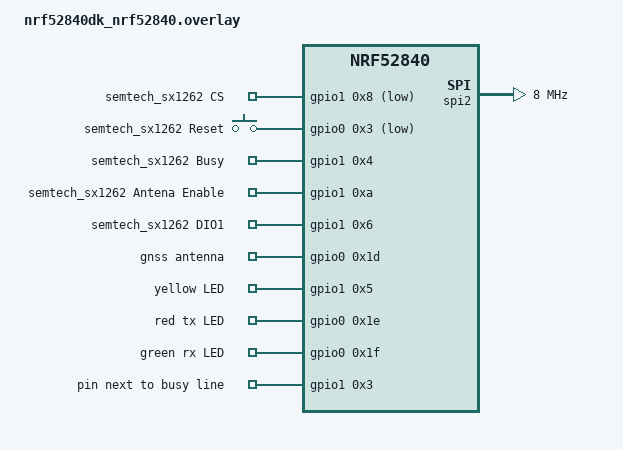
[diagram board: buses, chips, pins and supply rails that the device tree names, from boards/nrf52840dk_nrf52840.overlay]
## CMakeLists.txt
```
#
# Copyright (c) 2023 Nordic Semiconductor ASA
#
# SPDX-License-Identifier: LicenseRef-Nordic-5-Clause
#

cmake_minimum_required(VERSION 3.20.0)

# Sidewalk version
include(bootloader_version.cmake)

# Child images
set(hci_ipc_KCONFIG_ROOT ${CMAKE_CURRENT_SOURCE_DIR}/child_image/hci_ipc/Kconfig.root)
set(mcuboot_KCONFIG_ROOT ${CMAKE_CURRENT_SOURCE_DIR}/child_image/mcuboot/Kconfig.root)

# Configurations
if(CONF_FILE)
    get_filename_component(CONFIG_FILE_NAME ${CONF_FILE} NAME)
endif()

if("${CONFIG_FILE_NAME}" STREQUAL "prj_no_dfu.conf")
    set(PM_STATIC_YML_FILE ${CMAKE_CURRENT_SOURCE_DIR}/configuration/pm_static_no_dfu.yml)
else()
    set(PM_STATIC_YML_FILE ${CMAKE_CURRENT_SOURCE_DIR}/configuration/${BOARD}/pm_static_dfu.yml)
endif()

# Zephyr CMake project
find_package(Zephyr REQUIRED HINTS $ENV{ZEPHYR_BASE})
project(sidewalk_sid_end_device)

# Source files
target_include_directories(app PRIVATE include)
target_sources(app PRIVATE
    src/main.c
    src/sidewalk.c
)

target_sources_ifdef(CONFIG_SIDEWALK_FILE_TRANSFER app PRIVATE src/file_transfer.c)

if(CONFIG_SID_END_DEVICE_SENSOR_MONITORING)
    target_sources(app PRIVATE
        src/sensor_monitoring/app_buttons.c
        src/sensor_monitoring/app_leds.c
        src/sensor_monitoring/app_sensor.c
        src/sensor_monitoring/app_tx.c
        src/sensor_monitoring/app_rx.c
        src/sensor_monitoring/app.c
    )
elseif(CONFIG_SID_END_DEVICE_DUT)
    target_sources(app PRIVATE
        src/cli/app.c
    )
elseif(CONFIG_LBM_END_DEVICE)
    target_sources(app PRIVATE
        src/lbm/app_lbm_sidewalk.c
        src/lbm/main_periodical_uplink.c
    )
	zephyr_compile_definitions(
		CRYPTO=SOFT
		RP2_103
		SMTC_D2D
		USER_DEFINED_JOIN_PARAMETERS
	)
	if (CONFIG_REGION_US_915)
		target_compile_definitions(app PRIVATE MODEM_EXAMPLE_REGION=SMTC_MODEM_REGION_US_915)
	else()
		message(SEND_ERROR "not us_915 region")
	endif()
elseif(CONFIG_SID_END_DEVICE_NAV3)
	if(CONFIG_NAV3_SEND)
		target_compile_definitions(app PRIVATE NAV3_SEND)
		target_sources(app PRIVATE src/lbm/wifi.c)
	elseif(CONFIG_NAV3_ONLY)
		target_compile_definitions(app PRIVATE NAV3_ONLY)
	endif()
    target_sources(app PRIVATE
        src/lbm/app_nav3_sidewalk.c
        src/lbm/main_geolocation_sidewalk.c
    )
	zephyr_compile_definitions(RP2_103)	# TODO why should this be necessary in bypass
	if (CONFIG_REGION_US_915)
		# TODO why should this be necessary in bypass
		target_compile_definitions(app PRIVATE MODEM_EXAMPLE_REGION=SMTC_MODEM_REGION_US_915)
	else()
		message(SEND_ERROR "not us_915 region")
	endif()
elseif(CONFIG_LBM_END_DEVICE_NAV3)
    target_sources(app PRIVATE
        src/lbm/app_nav3_lbm.c
        src/lbm/main_geolocation_lbm.c
    )
	zephyr_compile_definitions(RP2_103)
	if (CONFIG_REGION_US_915)
		target_compile_definitions(app PRIVATE MODEM_EXAMPLE_REGION=SMTC_MODEM_REGION_US_915)
	else()
		message(SEND_ERROR "not us_915 region")
	endif()
else()
    target_sources(app PRIVATE
        src/hello/app.c
    )
endif()

if(CONFIG_SID_END_DEVICE_CLI)
    target_sources(app PRIVATE
        src/cli/app_dut.c
        src/cli/app_shell.c
    )
endif()

if(CONFIG_SMTC_CLI)
    target_sources(app PRIVATE
		src/cli/smtc_shell.c
	)
	target_compile_definitions(app PRIVATE CONFIG_SMTC_CLI)
endif()
```

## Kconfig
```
#
# Copyright (c) 2022 Nordic Semiconductor ASA
#
# SPDX-License-Identifier: LicenseRef-Nordic-5-Clause
#

mainmenu "Sidewalk End Device nRF Connect Application"

choice SID_END_DEVICE
	prompt "Select application variant to run"
    default SID_END_DEVICE_HELLO
config SID_END_DEVICE_HELLO
    bool "Sidewalk hello world application"
config SID_END_DEVICE_SENSOR_MONITORING
    bool "Demo sensor monitoring application"
    imply SIDEWALK_DEMO_PARSER
    imply SENSOR
    imply TEMP_NRF5
config SID_END_DEVICE_DUT
    bool "Device under test application"
config LBM_END_DEVICE
    bool "LoRa Basics Modem running in sidewalk environment"
config LBM_END_DEVICE_NAV3
	select ADD_LBM_GEOLOCATION
	imply RADIO_TCXO
    bool "NAV3 using lorawan transport"
config SID_END_DEVICE_NAV3
	select ADD_LBM_GEOLOCATION
	select SMTC_MODEM_HAL_IRQ_FROM_SID_PAL
	imply RADIO_TCXO
    bool "NAV3 uusing sidewalk transport"
endchoice #SID_END_DEVICE

if SID_END_DEVICE_HELLO

config SID_END_DEVICE_ECHO_MSGS
    bool "Eable message echo feature"
    default y
    help
      Echo received messages back to Sidewlak cloud.
      Works with GET and SET messages types.

endif #SID_END_DEVICE_HELLO

if SID_END_DEVICE_SENSOR_MONITORING

rsource "Kconfig.sensor_monitoring"

endif #SID_END_DEVICE_SENSOR_MONITORING

config SID_END_DEVICE_CLI
    bool "Enable Sidewalk CLI (DUT)"
    imply SHELL
    help
      Enables Sidewalk command line interface.
      The interface commands are compatilbe with former dut sample.

config SMTC_CLI
	bool "enable semtech CLI"
	imply SHELL
	help
		Enables semtech radio command line interface.

config NAV3_SEND
	bool "send geolocation results to AWS using sidewalk transport"
	default n

config NAV3_ONLY
	bool "NAV3 without sidewalk running"
	default n

config SID_END_DEVICE_AUTO_START
    default y
    bool "Enable automatic Sidewalk initlization and start"

config SID_END_DEVICE_AUTO_CONN_REQ
    default y
    bool "Enable automatic connection request before message send"

config SID_END_DEVICE_PERSISTENT_LINK_MASK
    bool "Enable persitent link mask"
    help
      The Sidewalk link mask persists after a device reset
      but defaults after a factory reset.
      This could affect the flash lifespan.

config SID_END_DEVICE_EVENT_HEAP_SIZE
    int "Heap for Sidewalk event contexts"
    default 2048

config SIDEWALK_FILE_TRANSFER
    select EXPERIMENTAL
    bool "Add File transfer capability to the application"
    help
      Include the callbacks necesary to handle file transfer

rsource "Kconfig.defconfig"

source "Kconfig.zephyr"
```

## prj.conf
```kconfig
#
# Copyright (c) 2023 Nordic Semiconductor ASA
#
# SPDX-License-Identifier: LicenseRef-Nordic-5-Clause
#

# Sidewalk
CONFIG_SIDEWALK=y
CONFIG_SMF=y

CONFIG_SIDEWALK_LINK_MASK_FSK=y
#CONFIG_SIDEWALK_LINK_MASK_LORA=y
CONFIG_RADIO_LR11XX=y
CONFIG_RADIO_TCXO=y
#CONFIG_SMTC_CLI=y
#CONFIG_SIDEWALK_THREAD_QUEUE_SIZE=20
#CONFIG_NAV3_SEND=y
CONFIG_NAV3_ONLY=y
#CONFIG_LBM_HAL_DBG_DEEP=y

# Log
CONFIG_LOG=y
CONFIG_LOG_PRINTK=y
CONFIG_LOG_BUFFER_SIZE=2048
CONFIG_NVS_LOG_LEVEL_WRN=y

# Bluetooth
CONFIG_BT_DEVICE_NAME="Nordic"

# Power Management
CONFIG_PM_DEVICE=y

# Debug
CONFIG_RESET_ON_FATAL_ERROR=n
CONFIG_SYS_HEAP_RUNTIME_STATS=y
```

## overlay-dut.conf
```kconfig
#
# Copyright (c) 2024 Nordic Semiconductor ASA
#
# SPDX-License-Identifier: LicenseRef-Nordic-5-Clause
#
CONFIG_SID_END_DEVICE_DUT=y

CONFIG_SID_END_DEVICE_CLI=y
CONFIG_SMTC_CLI=y
CONFIG_SIDEWALK_ON_DEV_CERT=y

CONFIG_SIDEWALK_BLE_ADAPTER_LOG_LEVEL_DBG=y

CONFIG_SID_END_DEVICE_AUTO_START=n
CONFIG_SID_END_DEVICE_ECHO_MSGS=n

# smtc:
CONFIG_SIDEWALK_LINK_MASK_FSK=y
#CONFIG_SIDEWALK_LINK_MASK_LORA=y
CONFIG_RADIO_LR11XX=y
CONFIG_RADIO_TCXO=y
```

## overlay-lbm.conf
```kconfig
CONFIG_LBM_END_DEVICE=y
CONFIG_LORABASICSMODEM_V431=y
#CONFIG_REGION_US_915=y		# this is the default region

# lora basics modem debug
CONFIG_LBM_LOG_LEVEL_DBG=n
CONFIG_LBM_HAL_DBG=y
CONFIG_LBM_HAL_DBG_DEEP=n
```

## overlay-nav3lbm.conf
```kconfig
CONFIG_LBM_END_DEVICE_NAV3=y
#CONFIG_LORABASICSMODEM_V431=y
CONFIG_LORABASICSMODEM_V450=y
# lora basics modem debug
CONFIG_LBM_LOG_LEVEL_DBG=n
CONFIG_LBM_HAL_DBG=y
CONFIG_LBM_HAL_DBG_DEEP=n
#CONFIG_LBM_GNSS_ALMANAC_DEEP_DBG=y
CONFIG_NAV3_SEND=y

# default is 2048
CONFIG_LOG_BUFFER_SIZE=4096


CONFIG_SIDEWALK_LINK_MASK_LORA=y
```

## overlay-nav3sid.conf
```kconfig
CONFIG_SID_END_DEVICE_NAV3=y
#CONFIG_LORABASICSMODEM_V431=y
CONFIG_LORABASICSMODEM_V450=y
# lora basics modem debug
CONFIG_LBM_LOG_LEVEL_DBG=n
CONFIG_LBM_HAL_DBG=y
CONFIG_LBM_HAL_DBG_DEEP=n
#CONFIG_LBM_GNSS_ALMANAC_DEEP_DBG=y
CONFIG_NAV3_SEND=y

# default is 2048
CONFIG_LOG_BUFFER_SIZE=4096


CONFIG_SIDEWALK_LINK_MASK_LORA=y

#CONFIG_LBM_GNSS_SCAN_DEEP_DBG=y
```

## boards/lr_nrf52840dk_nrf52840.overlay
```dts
/*
 * Copyright (c) 2023 Nordic Semiconductor ASA
 *
 * SPDX-License-Identifier: LicenseRef-Nordic-5-Clause
 */

&spi3 {
	status = "disabled";
};

sid_semtech: &spi2 {
	compatible = "nordic,nrf-spim";
	status = "okay";
	pinctrl-0 = <&spi2_default>;
	pinctrl-1 = <&spi2_sleep>;
	pinctrl-names = "default", "sleep";
	clock-frequency = <DT_FREQ_M(8)>;
};

/{
	semtech_sx1262_gpios{
		compatible = "gpio-keys";
		semtech_sx1262_cs: cs {
			gpios = <&gpio1 0x8 GPIO_ACTIVE_LOW>;
			label = "semtech_sx1262 CS";
		};
		semtech_sx1262_reset_gpios: reset {
			gpios = <&gpio0 0x3 GPIO_ACTIVE_LOW>;
			label = "semtech_sx1262 Reset";
		};
		semtech_sx1262_busy_gpios: busy {
			gpios = <&gpio1 0x4 GPIO_ACTIVE_HIGH>;
			label = "semtech_sx1262 Busy";
		};
		semtech_sx1262_antenna_enable_gpios: antena_enable {
			gpios = <&gpio1 0xa GPIO_ACTIVE_HIGH>;
			label = "semtech_sx1262 Antena Enable";
		};
		semtech_sx1262_dio1_gpios: dio1 {
			gpios = <&gpio1 0x6 GPIO_ACTIVE_HIGH>;
			label = "semtech_sx1262 DIO1";
		};
		radio_led_tx: led_tx {
			gpios = <&gpio0 0x1e GPIO_ACTIVE_HIGH>;
			label = "red tx LED";
		};
		radio_led_rx: led_rx {
			gpios = <&gpio0 0x1f GPIO_ACTIVE_HIGH>;
			label = "green rx LED";
		};
        radio_led_sniff: led_sniff {
            gpios = <&gpio1 0x5 GPIO_ACTIVE_HIGH>;
            label = "yellow LED";
        };
        radio_gnss_lna: gnss_lna {
            gpios = <&gpio0 0x1d GPIO_ACTIVE_HIGH>;
            label = "gnss antenna";
        };
	};

	chosen {
		nordic,pm-ext-flash = &mx25r64;
	};
};

&spi2_default {
	group1 {
		psels = <NRF_PSEL(SPIM_SCK, 1, 15)>,
		        <NRF_PSEL(SPIM_MISO, 1, 14)>,
		        <NRF_PSEL(SPIM_MOSI, 1, 13)>;
	};
};

&spi2_sleep {
	group1 {
		psels = <NRF_PSEL(SPIM_SCK, 1, 15)>,
		        <NRF_PSEL(SPIM_MISO, 1, 14)>,
		        <NRF_PSEL(SPIM_MOSI, 1, 13)>;
		low-power-enable;
	};
};
```

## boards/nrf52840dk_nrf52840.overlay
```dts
/*
 * Copyright (c) 2023 Nordic Semiconductor ASA
 *
 * SPDX-License-Identifier: LicenseRef-Nordic-5-Clause
 */

&spi3 {
	status = "disabled";
};

sid_semtech: &spi2 {
	compatible = "nordic,nrf-spim";
	status = "okay";
	pinctrl-0 = <&spi2_default>;
	pinctrl-1 = <&spi2_sleep>;
	pinctrl-names = "default", "sleep";
	clock-frequency = <DT_FREQ_M(8)>;
};

/{
	semtech_sx1262_gpios{
		compatible = "gpio-keys";
		semtech_sx1262_cs: cs {
			gpios = <&gpio1 0x8 GPIO_ACTIVE_LOW>;
			label = "semtech_sx1262 CS";
		};
		semtech_sx1262_reset_gpios: reset {
			gpios = <&gpio0 0x3 GPIO_ACTIVE_LOW>;
			label = "semtech_sx1262 Reset";
		};
		semtech_sx1262_busy_gpios: busy {
			gpios = <&gpio1 0x4 GPIO_ACTIVE_HIGH>;
			label = "semtech_sx1262 Busy";
		};
		semtech_sx1262_antenna_enable_gpios: antena_enable {
			gpios = <&gpio1 0xa GPIO_ACTIVE_HIGH>;
			label = "semtech_sx1262 Antena Enable";
		};
		semtech_sx1262_dio1_gpios: dio1 {
			gpios = <&gpio1 0x6 GPIO_ACTIVE_HIGH>;
			label = "semtech_sx1262 DIO1";
		};
        radio_gnss_lna: gnss_lna {
            gpios = <&gpio0 0x1d GPIO_ACTIVE_HIGH>;
            label = "gnss antenna";
        };
        radio_led_sniff: led_sniff {
            gpios = <&gpio1 0x5 GPIO_ACTIVE_HIGH>;
            label = "yellow LED";
        };
		radio_led_tx: led_tx {
			gpios = <&gpio0 0x1e GPIO_ACTIVE_HIGH>;
			label = "red tx LED";
		};
		radio_led_rx: led_rx {
			gpios = <&gpio0 0x1f GPIO_ACTIVE_HIGH>;
			label = "green rx LED";
		};
		a_debug: bar {
			gpios = <&gpio1 0x3 GPIO_ACTIVE_HIGH>;
			label = "pin next to busy line";
		};
	};

	chosen {
		nordic,pm-ext-flash = &mx25r64;
	};
};

&spi2_default {
	group1 {
		psels = <NRF_PSEL(SPIM_SCK, 1, 15)>,
		        <NRF_PSEL(SPIM_MISO, 1, 14)>,
		        <NRF_PSEL(SPIM_MOSI, 1, 13)>;
	};
};

&spi2_sleep {
	group1 {
		psels = <NRF_PSEL(SPIM_SCK, 1, 15)>,
		        <NRF_PSEL(SPIM_MISO, 1, 14)>,
		        <NRF_PSEL(SPIM_MOSI, 1, 13)>;
		low-power-enable;
	};
};
```

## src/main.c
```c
/*
 * Copyright (c) 2023 Nordic Semiconductor ASA
 *
 * SPDX-License-Identifier: LicenseRef-Nordic-5-Clause
 */

#include <app.h>
#include <zephyr/logging/log.h>
#include <sidewalk_version.h>

#include <zephyr/logging/log.h>
LOG_MODULE_REGISTER(main, CONFIG_SIDEWALK_LOG_LEVEL);

int main(void)
{
	PRINT_SIDEWALK_VERSION();

	app_start();

	return 0;
}
```

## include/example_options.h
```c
/**
 * @file	  example_options.h
 *
 * @brief	 User options to be used in example applications
 *
 * The Clear BSD License
 * Copyright Semtech Corporation 2021. All rights reserved.
 *
 * Redistribution and use in source and binary forms, with or without
 * modification, are permitted (subject to the limitations in the disclaimer
 * below) provided that the following conditions are met:
 *	 * Redistributions of source code must retain the above copyright
 *	   notice, this list of conditions and the following disclaimer.
 *	 * Redistributions in binary form must reproduce the above copyright
 *	   notice, this list of conditions and the following disclaimer in the
 *	   documentation and/or other materials provided with the distribution.
 *	 * Neither the name of the Semtech corporation nor the
 *	   names of its contributors may be used to endorse or promote products
 *	   derived from this software without specific prior written permission.
 *
 * NO EXPRESS OR IMPLIED LICENSES TO ANY PARTY'S PATENT RIGHTS ARE GRANTED BY
 * THIS LICENSE. THIS SOFTWARE IS PROVIDED BY THE COPYRIGHT HOLDERS AND
 * CONTRIBUTORS "AS IS" AND ANY EXPRESS OR IMPLIED WARRANTIES, INCLUDING, BUT
 * NOT LIMITED TO, THE IMPLIED WARRANTIES OF MERCHANTABILITY AND FITNESS FOR A
 * PARTICULAR PURPOSE ARE DISCLAIMED. IN NO EVENT SHALL SEMTECH CORPORATION BE
 * LIABLE FOR ANY DIRECT, INDIRECT, INCIDENTAL, SPECIAL, EXEMPLARY, OR
 * CONSEQUENTIAL DAMAGES (INCLUDING, BUT NOT LIMITED TO, PROCUREMENT OF
 * SUBSTITUTE GOODS OR SERVICES; LOSS OF USE, DATA, OR PROFITS; OR BUSINESS
 * INTERRUPTION) HOWEVER CAUSED AND ON ANY THEORY OF LIABILITY, WHETHER IN
 * CONTRACT, STRICT LIABILITY, OR TORT (INCLUDING NEGLIGENCE OR OTHERWISE)
 * ARISING IN ANY WAY OUT OF THE USE OF THIS SOFTWARE, EVEN IF ADVISED OF THE
 * POSSIBILITY OF SUCH DAMAGE.
 */

#ifndef EXAMPLE_OPTIONS_H
#define EXAMPLE_OPTIONS_H

#ifdef __cplusplus
extern "C" {
#endif

/*
 * -----------------------------------------------------------------------------
 * --- DEPENDENCIES ------------------------------------------------------------
 */

#include <stdint.h>   // C99 types
#include <stdbool.h>  // bool type

#include "smtc_modem_api.h"

/*
 * -----------------------------------------------------------------------------
 * --- PUBLIC CONSTANTS --------------------------------------------------------
 */

/**
 * @brief LoRaWAN User credentials
 *		cd-zephyr-nov30
 * joineu 97742779212C2BB6
 * deveui 3BBE1562BCD35D32
 *	key 195029CB37A463742D063AF660281139
 */
#define USER_LORAWAN_DEVICE_EUI						\
	{												  \
		0x3B, 0xBE, 0x15, 0x62, 0xBC, 0xD3, 0x5D, 0x32 \
	}
#define USER_LORAWAN_JOIN_EUI						  \
	{												  \
		0x97, 0x74, 0x27, 0x79, 0x21, 0x2C, 0x2B, 0xB6 \
	}
#define USER_LORAWAN_GEN_APP_KEY																	   \
	{																								  \
		0x19, 0x50, 0x29, 0xCB, 0x37, 0xA4, 0x63, 0x74, 0x2D, 0x06, 0x3A, 0xF6, 0x60, 0x28, 0x11, 0x39 \
	}
#define USER_LORAWAN_APP_KEY																		   \
	{																								  \
		0x19, 0x50, 0x29, 0xCB, 0x37, 0xA4, 0x63, 0x74, 0x2D, 0x06, 0x3A, 0xF6, 0x60, 0x28, 0x11, 0x39 \
	}

/**
 * @brief Modem Region define
 */
#ifndef MODEM_EXAMPLE_REGION
#if !defined( SX128X )
#define MODEM_EXAMPLE_REGION SMTC_MODEM_REGION_EU_868
#else
#define MODEM_EXAMPLE_REGION SMTC_MODEM_REGION_WW2G4
#endif
#endif  // MODEM_EXAMPLE_REGION
// clang-format on

#ifdef __cplusplus
}
#endif

#endif  // EXAMPLE_OPTIONS_H

/* --- EOF ------------------------------------------------------------------ */
```

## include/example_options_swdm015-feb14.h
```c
/**
 * @file	  example_options.h
 *
 * @brief	 User options to be used in example applications
 *
 * The Clear BSD License
 * Copyright Semtech Corporation 2021. All rights reserved.
 *
 * Redistribution and use in source and binary forms, with or without
 * modification, are permitted (subject to the limitations in the disclaimer
 * below) provided that the following conditions are met:
 *	 * Redistributions of source code must retain the above copyright
 *	   notice, this list of conditions and the following disclaimer.
 *	 * Redistributions in binary form must reproduce the above copyright
 *	   notice, this list of conditions and the following disclaimer in the
 *	   documentation and/or other materials provided with the distribution.
 *	 * Neither the name of the Semtech corporation nor the
 *	   names of its contributors may be used to endorse or promote products
 *	   derived from this software without specific prior written permission.
 *
 * NO EXPRESS OR IMPLIED LICENSES TO ANY PARTY'S PATENT RIGHTS ARE GRANTED BY
 * THIS LICENSE. THIS SOFTWARE IS PROVIDED BY THE COPYRIGHT HOLDERS AND
 * CONTRIBUTORS "AS IS" AND ANY EXPRESS OR IMPLIED WARRANTIES, INCLUDING, BUT
 * NOT LIMITED TO, THE IMPLIED WARRANTIES OF MERCHANTABILITY AND FITNESS FOR A
 * PARTICULAR PURPOSE ARE DISCLAIMED. IN NO EVENT SHALL SEMTECH CORPORATION BE
 * LIABLE FOR ANY DIRECT, INDIRECT, INCIDENTAL, SPECIAL, EXEMPLARY, OR
 * CONSEQUENTIAL DAMAGES (INCLUDING, BUT NOT LIMITED TO, PROCUREMENT OF
 * SUBSTITUTE GOODS OR SERVICES; LOSS OF USE, DATA, OR PROFITS; OR BUSINESS
 * INTERRUPTION) HOWEVER CAUSED AND ON ANY THEORY OF LIABILITY, WHETHER IN
 * CONTRACT, STRICT LIABILITY, OR TORT (INCLUDING NEGLIGENCE OR OTHERWISE)
 * ARISING IN ANY WAY OUT OF THE USE OF THIS SOFTWARE, EVEN IF ADVISED OF THE
 * POSSIBILITY OF SUCH DAMAGE.
 */

#ifndef EXAMPLE_OPTIONS_H
#define EXAMPLE_OPTIONS_H

#ifdef __cplusplus
extern "C" {
#endif

/*
 * -----------------------------------------------------------------------------
 * --- DEPENDENCIES ------------------------------------------------------------
 */

#include <stdint.h>   // C99 types
#include <stdbool.h>  // bool type

#include "smtc_modem_api.h"

/*
 * -----------------------------------------------------------------------------
 * --- PUBLIC CONSTANTS --------------------------------------------------------
 */

/**
 * @brief LoRaWAN User credentials
 * joineu 97742779212C2BB6
 * deveui 3BBE1562BCD35D32
 *	key 195029CB37A463742D063AF660281139
 */
#define USER_LORAWAN_DEVICE_EUI						\
	{												  \
		0x3B, 0xBE, 0x15, 0x62, 0xBC, 0xD3, 0x5D, 0x32 \
	}
#define USER_LORAWAN_JOIN_EUI						  \
	{												  \
		0x97, 0x74, 0x27, 0x79, 0x21, 0x2C, 0x2B, 0xB6 \
	}
#define USER_LORAWAN_GEN_APP_KEY																	   \
	{																								  \
		0x19, 0x50, 0x29, 0xCB, 0x37, 0xA4, 0x63, 0x74, 0x2D, 0x06, 0x3A, 0xF6, 0x60, 0x28, 0x11, 0x39 \
	}
#define USER_LORAWAN_APP_KEY																		   \
	{																								  \
		0x19, 0x50, 0x29, 0xCB, 0x37, 0xA4, 0x63, 0x74, 0x2D, 0x06, 0x3A, 0xF6, 0x60, 0x28, 0x11, 0x39 \
	}

/**
 * @brief Modem Region define
 */
#ifndef MODEM_EXAMPLE_REGION
#if !defined( SX128X )
#define MODEM_EXAMPLE_REGION SMTC_MODEM_REGION_EU_868
#else
#define MODEM_EXAMPLE_REGION SMTC_MODEM_REGION_WW2G4
#endif
#endif  // MODEM_EXAMPLE_REGION
// clang-format on

#ifdef __cplusplus
}
#endif

#endif  // EXAMPLE_OPTIONS_H

/* --- EOF ------------------------------------------------------------------ */
```

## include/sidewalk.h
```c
/*
 * Copyright (c) 2023 Nordic Semiconductor ASA
 *
 * SPDX-License-Identifier: LicenseRef-Nordic-5-Clause
 */
#ifndef SIDEWALK_APP_H
#define SIDEWALK_APP_H

#include <sid_api.h>
#include <zephyr/smf.h>
#include <sid_time_ops.h>
#include <sid_clock_ifc.h>
#include <sid_pal_timer_ifc.h>

#define LBM_STACK_ID 0

enum state {
	STATE_SIDEWALK,
	STATE_DFU,
	STATE_SMTC,
#if defined(CONFIG_LBM_END_DEVICE)
	STATE_LBM,
#elif (defined(CONFIG_SID_END_DEVICE_NAV3) || defined(CONFIG_LBM_END_DEVICE_NAV3))
	STATE_NAV3,
#endif
};

typedef enum {
	SID_EVENT_SIDEWALK = 0,
	/* 1  */ SID_EVENT_FACTORY_RESET,
	/* 2  */ SID_EVENT_NEW_STATUS,
	/* 3  */ SID_EVENT_SEND_MSG,
	/* 4  */ SID_EVENT_CONNECT,
	/* 5  */ SID_EVENT_LINK_SWITCH,
	/* 6  */ SID_EVENT_NORDIC_DFU,
	/* 7  */ SID_EVENT_FILE_TRANSFER,
	/* 8  */ SID_EVENT_LBM,
	/* 9  */ SID_EVENT_TOGGLE_LBM_SIDEWALK,
#if defined(CONFIG_SID_END_DEVICE_NAV3)
	/* 10 */ SID_EVENT_LBM_INIT,
#endif
#ifdef NAV3_SEND
	/*    */ SID_EVENT_NAV3_SEND,
#endif /* !NAV3_SEND */
	/*    */ SID_EVENT_LAST,
} sidewalk_event_t;

typedef struct {
	sidewalk_event_t id;
	void *ctx;
} sidewalk_ctx_event_t;

#if defined(NAV3_SEND) || defined(CONFIG_LBM_END_DEVICE_NAV3)
/*!
 * @brief Defines the delay before starting the next scan sequence, value in [s].
 */
#define GEOLOCATION_GNSS_SCAN_PERIOD_S ( 2 * 60 )
#define GEOLOCATION_WIFI_SCAN_PERIOD_S ( 1 * 60 )
#endif

#ifdef NAV3_SEND
typedef enum {
	SENDING_NONE = 0,
	SENDING_GNSS,
	SENDING_WIFI,
} sending_t;
#endif /* !NAV3_SEND */

typedef struct {
	struct sid_handle *handle;
	struct sid_config config;
	struct sid_status last_status;
#ifdef NAV3_SEND
	struct {
		uint8_t index;
		uint8_t nbytes_sent_this_fragment;
		uint8_t current_fragment;
		uint8_t total_fragments;
		uint8_t total_bytes;
		uint8_t num_bytes_sending;
		size_t mtu;
		uint8_t frag_type;
		const uint8_t *buffer;
		sending_t sending;
		sending_t pending_send;
		uint8_t send_attempt;
		bool currently_sending;
		bool run_engine_pending;
	} scan_result;
#endif /* !NAV3_SEND */
} sidewalk_ctx_t;

typedef struct sm_s {
	struct smf_ctx ctx;
	struct k_msgq msgq;
	sidewalk_ctx_event_t event;
	sidewalk_ctx_t *sid;
#if (defined(CONFIG_LBM_END_DEVICE) || defined(CONFIG_SID_END_DEVICE_NAV3) || defined(CONFIG_LBM_END_DEVICE_NAV3))
	uint32_t sleep_time_ms;
#endif
#if defined(CONFIG_SID_END_DEVICE_NAV3)
	bool lbm_initialized;
#endif
} sm_t;

typedef struct {
	struct sid_msg msg;
	struct sid_msg_desc desc;
} sidewalk_msg_t;

typedef struct {
	enum sid_option option;
	void *data;
	size_t data_len;
} sidewalk_option_t;

void sidewalk_start(sidewalk_ctx_t *context);

int sidewalk_event_send(sidewalk_event_t event, void *ctx);

extern const struct smf_state sid_states[];
void app_event_lbm(void);
#if defined(CONFIG_LBM_END_DEVICE)
void state_lbm_entry(void *o);
void state_lbm_run(void *o);
#elif defined(CONFIG_SID_END_DEVICE_NAV3) || defined(CONFIG_LBM_END_DEVICE_NAV3)
void state_nav3_entry(void *o);
void state_nav3_run(void *o);
extern sid_pal_timer_t lr_timer;
extern sidewalk_event_t lr_timer_cb_arg;
#endif

#if defined(CONFIG_SID_END_DEVICE_NAV3) || defined(CONFIG_LBM_END_DEVICE_NAV3)
#include <smtc_modem_geolocation_api.h>
#endif

#ifdef NAV3_SEND
#define TLV_TAG_GNSS_SINGLE_SCAN	0x50
#define TLV_TAG_WIFI_SCAN			0x51
#define TLV_TAG_MODEM_MESSAGE		0x52
#define TLV_TAG_GNSS_NG				0x53
#define TLV_TAG_MIRROR_UPLINK		0x54
#define TLV_TAG_					0x55
extern smtc_modem_wifi_event_data_scan_done_t					  wifi_scan_done_data;
extern smtc_modem_gnss_event_data_scan_done_t					  gnss_scan_done_data;
extern uint8_t gnss_scan_idx;
int uplink_scan(uint8_t tlv_tag, const uint8_t *scan_result_buf, uint8_t scan_result_length);
int uplink_gnss_scan(const smtc_modem_gnss_event_data_scan_done_t *gnss, unsigned idx, bool);
int wifi_send_results(void); // prepare send, and call send
int wifi_uplink(void);
void send_scan_result(sidewalk_ctx_t *sid_ctx);
#endif /* NAV3_SEND */

#endif /* SIDEWALK_APP_H */
```

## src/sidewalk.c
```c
/*
 * Copyright (c) 2023 Nordic Semiconductor ASA
 *
 * SPDX-License-Identifier: LicenseRef-Nordic-5-Clause
 */

#include <sid_pal_crypto_ifc.h>
#include <stdio.h>

#include <app_mfg_config.h>
#include <sid_pal_common_ifc.h>
#include <sidewalk.h>
#include <nordic_dfu.h>
#ifdef CONFIG_SID_END_DEVICE_CLI
#include <cli/app_dut.h>
#endif
#ifdef CONFIG_SID_END_DEVICE_PERSISTENT_LINK_MASK
#include <settings_utils.h>
#endif
#include <zephyr/kernel.h>
#include <zephyr/logging/log.h>
#include <sidTypes2str.h>
#ifdef CONFIG_SIDEWALK_SUBGHZ_SUPPORT
#include <app_subGHz_config.h>
#endif
#include <file_transfer.h>

#include <sid_hal_memory_ifc.h>
#ifdef CONFIG_SMTC_CLI
#include <halo_lr11xx_radio.h>
extern volatile int csuso;
#endif /* CONFIG_SMTC_CLI */

#ifdef CONFIG_SIDEWALK_LINK_MASK_BLE
#define DEFAULT_LM (uint32_t)(SID_LINK_TYPE_1)
#elif CONFIG_SIDEWALK_LINK_MASK_FSK
#define DEFAULT_LM (uint32_t)(SID_LINK_TYPE_2)
#elif CONFIG_SIDEWALK_LINK_MASK_LORA
#define DEFAULT_LM (uint32_t)(SID_LINK_TYPE_1 | SID_LINK_TYPE_3)
#else
#define DEFAULT_LM (uint32_t)(SID_LINK_TYPE_1)
#endif

LOG_MODULE_REGISTER(sidewalk_app, CONFIG_SIDEWALK_LOG_LEVEL);

static struct k_thread sid_thread;
K_THREAD_STACK_DEFINE(sid_thread_stack, CONFIG_SIDEWALK_THREAD_STACK_SIZE);

//extern uint32_t radio_dbg;

static void state_sidewalk_run(void *o);
static void state_sidewalk_entry(void *o);
static void state_dfu_entry(void *o);
static void state_dfu_run(void *o);
#ifdef CONFIG_SMTC_CLI
static void state_smtc_entry(void *o);
static void state_smtc_run(void *o);
#endif /* CONFIG_SMTC_CLI */

const struct smf_state sid_states[] = {
	[STATE_SIDEWALK] = SMF_CREATE_STATE(state_sidewalk_entry, state_sidewalk_run, NULL),
	[STATE_DFU] = SMF_CREATE_STATE(state_dfu_entry, state_dfu_run, NULL),
#if defined(CONFIG_LBM_END_DEVICE)
	[STATE_LBM] = SMF_CREATE_STATE(state_lbm_entry, state_lbm_run, NULL),
#elif defined(CONFIG_SID_END_DEVICE_NAV3) || defined(CONFIG_LBM_END_DEVICE_NAV3)
	[STATE_NAV3] = SMF_CREATE_STATE(state_nav3_entry, state_nav3_run, NULL),
#endif
#ifdef CONFIG_SMTC_CLI
	[STATE_SMTC] = SMF_CREATE_STATE(state_smtc_entry, state_smtc_run, NULL),
#endif /* CONFIG_SMTC_CLI */
};

static uint8_t __aligned(4)
	sid_msgq_buff[CONFIG_SIDEWALK_THREAD_QUEUE_SIZE * sizeof(sidewalk_ctx_event_t)];
static sm_t sid_sm;

static void state_sidewalk_entry(void *o)
{
	platform_parameters_t platform_parameters = {
		.mfg_store_region.addr_start = APP_MFG_CFG_FLASH_START,
		.mfg_store_region.addr_end = APP_MFG_CFG_FLASH_END,
#ifdef CONFIG_SIDEWALK_SUBGHZ_SUPPORT
		.platform_init_parameters.radio_cfg =
#if defined(CONFIG_RADIO_LR11XX)
			(radio_lr11xx_device_config_t *)get_radio_cfg(),
#else
			(radio_sx126x_device_config_t *)get_radio_cfg(),
#endif  /* CONFIG_RADIO_LR11XX */
#endif /* CONFIG_SIDEWALK_SUBGHZ_SUPPORT */
	};

	sid_error_t e = sid_platform_init(&platform_parameters);
	if (SID_ERROR_NONE != e) {
		LOG_ERR("Sidewalk Platform Init err: %d", e);
		return;
	}

	if (app_mfg_cfg_is_valid()) {
		LOG_ERR("The mfg.hex version mismatch");
		LOG_ERR("Check if the file has been generated and flashed properly");
		LOG_ERR("START ADDRESS: 0x%08x", APP_MFG_CFG_FLASH_START);
		LOG_ERR("SIZE: 0x%08x", APP_MFG_CFG_FLASH_SIZE);
		return;
	}

#ifdef CONFIG_SID_END_DEVICE_AUTO_START
	sm_t *sm = (sm_t *)o;

#ifdef CONFIG_SID_END_DEVICE_PERSISTENT_LINK_MASK
	int err = settings_utils_link_mask_get(&sm->sid->config.link_mask);
	if (err <= 0) {
		LOG_WRN("Link mask get failed %d", err);
		sm->sid->config.link_mask = 0;
		settings_utils_link_mask_set(DEFAULT_LM);
	}
#endif /* CONFIG_SID_END_DEVICE_PERSISTENT_LINK_MASK */

	if (!sm->sid->config.link_mask) {
		sm->sid->config.link_mask = DEFAULT_LM;
	}

	LOG_INF("Sidewalk link switch to %s",
		(SID_LINK_TYPE_3 & sm->sid->config.link_mask) ? "LoRa" :
		(SID_LINK_TYPE_2 & sm->sid->config.link_mask) ? "FSK" :
								"BLE");

	e = sid_init(&sm->sid->config, &sm->sid->handle);
	if (e) {
		LOG_ERR("sid init err %d", (int)e);
	}

#ifdef CONFIG_SMTC_CLI
	{
		halo_drv_semtech_ctx_t *radio_ctx = lr11xx_get_drv_ctx();
		radio_ctx->suppress_rx_timeout.csuso = csuso;
		LOG_INF("csuso %d", radio_ctx->suppress_rx_timeout.csuso);
	}
#endif /* CONFIG_SMTC_CLI */

#ifdef CONFIG_SIDEWALK_FILE_TRANSFER
	app_file_transfer_demo_init(sm->sid->handle);
#endif
	e = sid_start(sm->sid->handle, sm->sid->config.link_mask); // state_sidewalk_entry()
	if (e) {
		LOG_ERR("sid start err %d", (int)e);
	}

#if CONFIG_SID_END_DEVICE_AUTO_CONN_REQ
	if (sm->sid->config.link_mask & SID_LINK_TYPE_1) {
		enum sid_link_connection_policy set_policy =
			SID_LINK_CONNECTION_POLICY_AUTO_CONNECT;

		e = sid_option(sm->sid->handle, SID_OPTION_SET_LINK_CONNECTION_POLICY, &set_policy,
			       sizeof(set_policy));
		if (e) {
			LOG_ERR("sid option multi link manager err %d", (int)e);
		}

		struct sid_link_auto_connect_params ac_params = {
			.link_type = SID_LINK_TYPE_1,
			.enable = true,
			.priority = 0,
			.connection_attempt_timeout_seconds = 30
		};

		e = sid_option(sm->sid->handle, SID_OPTION_SET_LINK_POLICY_AUTO_CONNECT_PARAMS,
			       &ac_params, sizeof(ac_params));
		if (e) {
			LOG_ERR("sid option multi link policy err %d", (int)e);
		}
	}
#endif /* CONFIG_SID_END_DEVICE_AUTO_CONN_REQ */

#endif /* CONFIG_SIDEWALK_AUTO_START */
}

static void state_sidewalk_run(void *o)
{
	sm_t *sm = (sm_t *)o;
	sid_error_t e = SID_ERROR_NONE;

	switch (sm->event.id) {
	case SID_EVENT_SIDEWALK: {
		//sid_pal_gpio_write(radio_dbg, 0);
		e = sid_process(sm->sid->handle);
		//sid_pal_gpio_write(radio_dbg, 1);
		if (e) {
			LOG_ERR("sid process err %d", (int)e);
		}
	} break;
	case SID_EVENT_FACTORY_RESET: {
#ifdef CONFIG_SID_END_DEVICE_PERSISTENT_LINK_MASK
		(void)settings_utils_link_mask_set(0);
#endif /* CONFIG_SIDEWALK_PERSISTENT_LINK_MASK */
		e = sid_set_factory_reset(sm->sid->handle);
		if (e) {
			LOG_ERR("sid factory reset err %d", (int)e);
		}
	} break;
	case SID_EVENT_LINK_SWITCH: {
		static uint32_t new_link_mask = DEFAULT_LM;

		switch (sm->sid->config.link_mask) {
		case SID_LINK_TYPE_1:
			new_link_mask = SID_LINK_TYPE_2;
			break;
		case SID_LINK_TYPE_2:
			new_link_mask = SID_LINK_TYPE_1 | SID_LINK_TYPE_3;
			break;
		default:
			new_link_mask = SID_LINK_TYPE_1;
			break;
		}
		sm->sid->config.link_mask = new_link_mask;

		LOG_INF("Sidewalk link switch to %s", (SID_LINK_TYPE_3 & new_link_mask) ? "LoRa" :
						      (SID_LINK_TYPE_2 & new_link_mask) ? "FSK" :
											  "BLE");
#ifdef CONFIG_SID_END_DEVICE_PERSISTENT_LINK_MASK
		int err = settings_utils_link_mask_set(new_link_mask);
		if (err) {
			LOG_ERR("New link mask set err %d", err);
		}
#endif /* CONFIG_SID_END_DEVICE_PERSISTENT_LINK_MASK */

		if (sm->sid->handle != NULL) {
#ifdef CONFIG_SIDEWALK_FILE_TRANSFER
			app_file_transfer_demo_deinit(sm->sid->handle);
#endif
			e = sid_deinit(sm->sid->handle);
			if (e) {
				LOG_ERR("sid deinit err %d", (int)e);
			}
		}

		e = sid_init(&sm->sid->config, &sm->sid->handle);
		if (e) {
			LOG_ERR("sid init err %d", (int)e);
		}
#ifdef CONFIG_SIDEWALK_FILE_TRANSFER
		app_file_transfer_demo_init(sm->sid->handle);
#endif
		e = sid_start(sm->sid->handle, sm->sid->config.link_mask); // state_sidewalk_run() SID_EVENT_LINK_SWITCH
		if (e) {
			LOG_ERR("sid start err %d", (int)e);
		}
#if CONFIG_SID_END_DEVICE_AUTO_CONN_REQ
		if (sm->sid->config.link_mask & SID_LINK_TYPE_1) {
			enum sid_link_connection_policy set_policy =
				SID_LINK_CONNECTION_POLICY_AUTO_CONNECT;

			e = sid_option(sm->sid->handle, SID_OPTION_SET_LINK_CONNECTION_POLICY,
				       &set_policy, sizeof(set_policy));
			if (e) {
				LOG_ERR("sid option multi link manager err %d", (int)e);
			}

			struct sid_link_auto_connect_params ac_params = {
				.link_type = SID_LINK_TYPE_1,
				.enable = true,
				.priority = 0,
				.connection_attempt_timeout_seconds = 30
			};

			e = sid_option(sm->sid->handle,
				       SID_OPTION_SET_LINK_POLICY_AUTO_CONNECT_PARAMS, &ac_params,
				       sizeof(ac_params));
			if (e) {
				LOG_ERR("sid option multi link policy err %d", (int)e);
			}
		}
#endif /* CONFIG_SID_END_DEVICE_AUTO_CONN_REQ */
	} break;
	case SID_EVENT_NORDIC_DFU: {
#ifdef CONFIG_SIDEWALK_FILE_TRANSFER
		app_file_transfer_demo_deinit(sm->sid->handle);
#endif
		e = sid_deinit(sm->sid->handle);
		if (e) {
			LOG_ERR("sid deinit err %d", (int)e);
		}
		smf_set_state(SMF_CTX(sm), &sid_states[STATE_DFU]);
	} break;
	case SID_EVENT_NEW_STATUS: {
		struct sid_status *p_status = (struct sid_status *)sm->event.ctx;
		if (!p_status) {
			LOG_ERR("sid new status is NULL");
			break;
		}

		memcpy(&sm->sid->last_status, p_status, sizeof(struct sid_status));
		sid_hal_free(p_status);
	} break;
	case SID_EVENT_SEND_MSG: {
		sidewalk_msg_t *p_msg = (sidewalk_msg_t *)sm->event.ctx;
		if (!p_msg) {
			LOG_ERR("sid send msg is NULL");
			break;
		}

		e = sid_put_msg(sm->sid->handle, &p_msg->msg, &p_msg->desc);
		if (e) {
			LOG_ERR("sid send err %d", (int)e);
		}
		LOG_DBG("sid send (type: %d, id: %u)", (int)p_msg->desc.type, p_msg->desc.id);
		sid_hal_free(p_msg->msg.data);
		sid_hal_free(p_msg);
	} break;
	case SID_EVENT_CONNECT: {
		if (!(sm->sid->config.link_mask & SID_LINK_TYPE_1)) {
			LOG_ERR("Can not request connection - BLE not enabled");
			return;
		}
		sid_error_t e = sid_ble_bcn_connection_request(sm->sid->handle, true);
		if (e) {
			LOG_ERR("sid conn req err %d", (int)e);
		}
	} break;
	case SID_EVENT_FILE_TRANSFER: {
#ifdef CONFIG_SIDEWALK_FILE_TRANSFER
		struct data_received_args *args = (struct data_received_args *)sm->event.ctx;
		if (!args) {
			LOG_ERR("File transfer event data is NULL");
			break;
		}
		LOG_INF("Received file Id %d; buffer size %d; file offset %d", args->desc.file_id,
			args->buffer->size, args->desc.file_offset);
		uint8_t hash_out[32];
		sid_pal_hash_params_t params = { .algo = SID_PAL_HASH_SHA256,
						 .data = args->buffer->data,
						 .data_size = args->buffer->size,
						 .digest = hash_out,
						 .digest_size = sizeof(hash_out) };

		sid_error_t e = sid_pal_crypto_hash(&params);
		if (e != SID_ERROR_NONE) {
			LOG_ERR("Failed to hash received file transfer with error %s",
				SID_ERROR_T_STR(e));
		} else {
#define HEX_PRINTER(a, ...) "%02X"
#define HEX_PRINTER_ARG(a, ...) hash_out[a]
			char hex_str[sizeof(hash_out) * 2 + 1] = { 0 };
			snprintf(hex_str, sizeof(hex_str), LISTIFY(32, HEX_PRINTER, ()),
				 LISTIFY(32, HEX_PRINTER_ARG, (, )));
			LOG_INF("SHA256: %s", hex_str);
		}

		sid_error_t ret = sid_bulk_data_transfer_release_buffer(
			sm->sid->handle, args->desc.file_id, args->buffer);
		if (ret != SID_ERROR_NONE) {
			LOG_ERR("sid_bulk_data_transfer_release_buffer returned %s",
				SID_ERROR_T_STR(ret));
		}
		sid_hal_free(args);
#endif /* CONFIG_SIDEWALK_FILE_TRANSFER */
	} break;
	case SID_EVENT_TOGGLE_LBM_SIDEWALK:
		e = sid_stop(sm->sid->handle, sm->sid->config.link_mask);
		if (e) {
			LOG_ERR("sid_stop err %d", e);
		}
#if defined(CONFIG_LBM_END_DEVICE)
		smf_set_state(SMF_CTX(sm), &sid_states[STATE_LBM]);
#elif defined(CONFIG_SID_END_DEVICE_NAV3)
		smf_set_state(SMF_CTX(sm), &sid_states[STATE_NAV3]);
#elif defined(CONFIG_LBM_END_DEVICE_NAV3)
		LOG_ERR("mode-toggling not implemented in NAV3-over-lorawan");
#else
	#error toggle_to_other
#endif /* CONFIG_LBM_END_DEVICE */
		break;
	case SID_EVENT_LBM:
#if defined(CONFIG_SID_END_DEVICE_NAV3)
	case SID_EVENT_LBM_INIT:
#endif
#ifdef NAV3_SEND
	case SID_EVENT_NAV3_SEND:
#endif /* NAV3_SEND */
	case SID_EVENT_LAST:
		break;
	}

#ifdef CONFIG_SID_END_DEVICE_CLI
	if (sm->event.id >= SID_EVENT_LAST) {
		app_dut_event_process(sm->event, sm->sid);
	}
#endif /* CONFIG_SID_END_DEVICE_CLI */
}

#ifdef CONFIG_SMTC_CLI
static void state_smtc_entry(void *o)
{
}

static void state_smtc_run(void *o)
{
	sm_t *sm = (sm_t *)o;
	switch (sm->event.id) {
		case SID_EVENT_SIDEWALK:
		case SID_EVENT_FILE_TRANSFER:
		case SID_EVENT_LAST:
		case SID_EVENT_LINK_SWITCH:
		case SID_EVENT_FACTORY_RESET:
		case SID_EVENT_SEND_MSG:
		case SID_EVENT_NEW_STATUS:
		case SID_EVENT_CONNECT:
		break;
		case SID_EVENT_NORDIC_DFU:
		smf_set_state(SMF_CTX(sm), &sid_states[STATE_SIDEWALK]);
		break;
	}
}
#endif /* CONFIG_SMTC_CLI */

static void state_dfu_entry(void *o)
{
	sm_t *sm = (sm_t *)o;

	LOG_INF("Entering into DFU mode");
	int err = -ENOTSUP;
#if defined(CONFIG_SIDEWALK_DFU_SERVICE_BLE)
	err = nordic_dfu_ble_start();
#endif
	if (err) {
		LOG_ERR("dfu start err %d", err);
		smf_set_state(SMF_CTX(sm), &sid_states[STATE_SIDEWALK]);
		return;
	}
}

static void state_dfu_run(void *o)
{
	sm_t *sm = (sm_t *)o;
	int err = -ENOTSUP;

	switch (sm->event.id) {
	case SID_EVENT_NORDIC_DFU:
#if defined(CONFIG_SIDEWALK_DFU_SERVICE_BLE)
		err = nordic_dfu_ble_stop();
#endif
		if (err) {
			LOG_ERR("dfu stop err %d", err);
		}

		smf_set_state(SMF_CTX(sm), &sid_states[STATE_SIDEWALK]);
		break;
	case SID_EVENT_LBM:
	case SID_EVENT_NEW_STATUS:
	case SID_EVENT_SEND_MSG:
	case SID_EVENT_CONNECT:
	case SID_EVENT_FACTORY_RESET:
	case SID_EVENT_LINK_SWITCH:
	case SID_EVENT_SIDEWALK:
	case SID_EVENT_FILE_TRANSFER:
	case SID_EVENT_TOGGLE_LBM_SIDEWALK:
		LOG_INF("Operation not supported in DFU mode");
		break;
#if defined(CONFIG_SID_END_DEVICE_NAV3)
	case SID_EVENT_LBM_INIT:
#endif
#ifdef NAV3_SEND
	case SID_EVENT_NAV3_SEND:
#endif /* NAV3_SEND */
	case SID_EVENT_LAST:
		break;
	}
}

static void sid_thread_entry(void *context, void *unused, void *unused2)
{
	ARG_UNUSED(unused);
	ARG_UNUSED(unused2);

	sid_sm.sid = (sidewalk_ctx_t *)context;

	k_msgq_init(&sid_sm.msgq, sid_msgq_buff, sizeof(sidewalk_ctx_event_t),
		    CONFIG_SIDEWALK_THREAD_QUEUE_SIZE);
#if defined(CONFIG_SMTC_CLI)
	smf_set_initial(SMF_CTX(&sid_sm), &sid_states[STATE_SMTC]);
#elif defined(CONFIG_LBM_END_DEVICE)
	smf_set_initial(SMF_CTX(&sid_sm), &sid_states[STATE_LBM]);
	sid_sm.sleep_time_ms = 300000;
#elif defined(CONFIG_SID_END_DEVICE_NAV3) || defined(CONFIG_LBM_END_DEVICE_NAV3)
	smf_set_initial(SMF_CTX(&sid_sm), &sid_states[STATE_NAV3]);
	sid_sm.sleep_time_ms = 300000;
#else
	smf_set_initial(SMF_CTX(&sid_sm), &sid_states[STATE_SIDEWALK]);
#endif /* CONFIG_SMTC_CLI */

	while (1) {
#if defined(CONFIG_LBM_END_DEVICE) || defined(CONFIG_SID_END_DEVICE_NAV3) || defined(CONFIG_LBM_END_DEVICE_NAV3)
		int err = k_msgq_get(&sid_sm.msgq, &sid_sm.event, K_MSEC(sid_sm.sleep_time_ms));
		/* -ENOMSG	Returned without waiting.
		 * -EAGAIN	Waiting period timed out. */
		if (err == 0 || err == -EAGAIN) {
#else
		int err = k_msgq_get(&sid_sm.msgq, &sid_sm.event, K_FOREVER);
		if (!err) {
#endif
			if (smf_run_state(SMF_CTX(&sid_sm))) {
				LOG_ERR("Sidewalk state machine termination");
				break;
			}
		} else {
			if (err == -ENOMSG) 
				LOG_ERR("msgq ENOMSG"); // returned without waiting
			else
				LOG_ERR("Sidewalk msgq err %d", err);
			k_sleep(K_MSEC(100));
		}
	}

	LOG_ERR("Sidewalk thread ends. You should never see this message.");
}

void sidewalk_start(sidewalk_ctx_t *context)
{
	(void)k_thread_create(&sid_thread, sid_thread_stack,
			      K_THREAD_STACK_SIZEOF(sid_thread_stack), sid_thread_entry, context,
			      NULL, NULL, CONFIG_SIDEWALK_THREAD_PRIORITY, 0, K_NO_WAIT);
	(void)k_thread_name_set(&sid_thread, "sidewalk");
}

int sidewalk_event_send(sidewalk_event_t event, void *ctx)
{
	sidewalk_ctx_event_t ctx_event = {
		.id = event,
		.ctx = ctx,
	};

	const int result = k_msgq_put(&sid_sm.msgq, (void *)&ctx_event, K_NO_WAIT);
	LOG_DBG("sidewalk_event_send event = %d (%s), context = %p, k_msgq_put result %d", event,
		SIDEWALK_EVENT_T_STR(event), ctx, result);
	return result;
}
```
